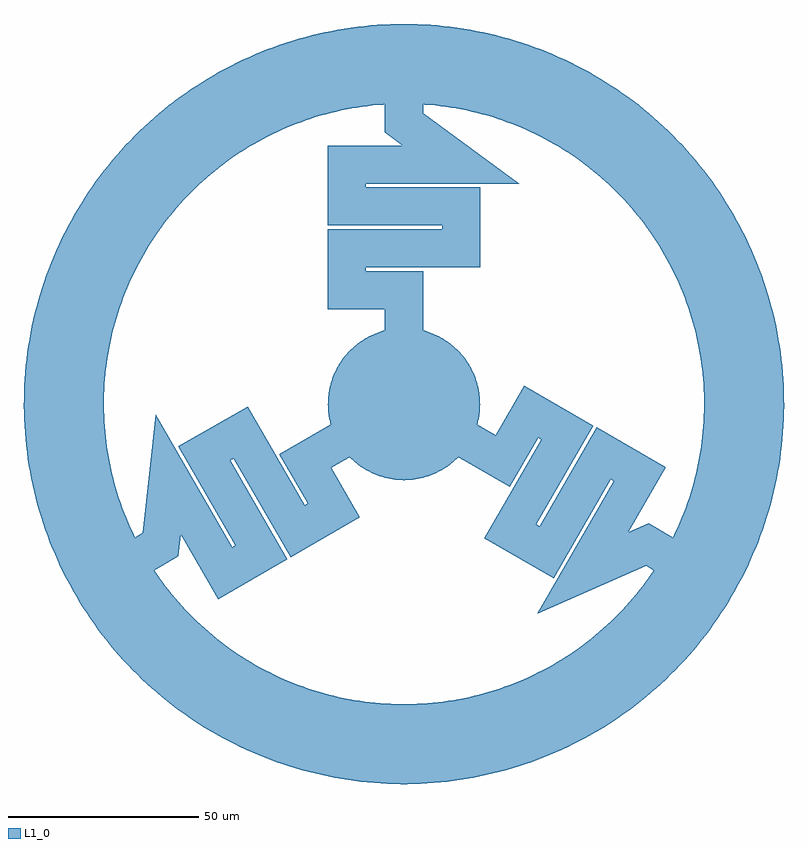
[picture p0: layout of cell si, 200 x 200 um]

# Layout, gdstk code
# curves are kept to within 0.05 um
import gdstk
lib = gdstk.Library(unit=1e-6, precision=1e-09)
def P(c, l, *ps):  # polygons
    for p in ps: c.add(gdstk.Polygon(p, *l))
L1_0 = (1, 0)

c_si = lib.new_cell('si')
P(c_si, L1_0, [(-0.175,-19.999),(-2.27,-19.871),(-4.341,-19.523),(-6.363,-18.961),(-7.996,-18.332),(-9.568,-17.563),(-11.356,-16.464),(-13.019,-15.183),(-14.296,-13.987),(-15.464,-12.684),(-16.708,-10.993),(-17.605,-9.491),(-18.503,-7.593),(-19.197,-5.612),(-19.614,-3.913),(-19.916,-1.835),(-19.998,0.263),(-19.861,2.357),(-19.579,4.084),(-19.043,6.114),(-18.297,8.076),(-17.35,9.949),(-16.414,11.428),(-15.352,12.818),(-13.924,14.357),(-12.616,15.519),(-10.92,16.756),(-9.103,17.808),(-7.512,18.536),(-5.528,19.221),(-3.827,19.631),(-1.748,19.923),(0.35,19.997),(2.096,19.89),(4.17,19.561),(6.197,19.016),(8.156,18.261),(9.721,17.479),(11.499,16.363),(12.886,15.296),(14.418,13.861),(15.574,12.548),(16.804,10.846),(17.848,9.025),(18.568,7.431),(19.147,5.78),(19.647,3.741),(19.899,2.009),(20,-0.088),(19.916,-1.835),(19.614,-3.913),(19.197,-5.612),(18.503,-7.593),(17.605,-9.491),(16.513,-11.284),(15.464,-12.684),(14.049,-14.235),(12.48,-15.629),(10.773,-16.851),(9.259,-17.728),(7.349,-18.601),(5.359,-19.269),(3.655,-19.663),(1.574,-19.938)],
  [(-0.875,-99.996),(-6.122,-99.812),(-11.352,-99.354),(-16.55,-98.621),(-19.992,-97.981),(-25.106,-96.797),(-30.152,-95.346),(-35.114,-93.632),(-38.369,-92.346),(-43.163,-90.205),(-47.838,-87.816),(-52.38,-85.184),(-56.779,-82.318),(-61.021,-79.224),(-65.094,-75.913),(-68.989,-72.392),(-71.48,-69.933),(-73.884,-67.389),(-77.318,-63.418),(-80.54,-59.273),(-83.54,-54.964),(-85.412,-52.007),(-88.024,-47.453),(-90.393,-42.768),(-92.513,-37.965),(-94.378,-33.057),(-95.983,-28.059),(-97.323,-22.983),(-98.068,-19.563),(-98.959,-14.389),(-99.578,-9.176),(-99.922,-3.937),(-99.991,1.313),(-99.785,6.559),(-99.494,10.047),(-99.082,13.522),(-98.235,18.704),(-97.118,23.834),(-95.734,28.898),(-94.664,32.23),(-93.478,35.523),(-91.485,40.38),(-89.239,45.126),(-86.748,49.747),(-84.018,54.231),(-81.056,58.566),(-77.87,62.739),(-75.627,65.426),(-73.291,68.033),(-69.62,71.785),(-65.756,75.34),(-61.712,78.687),(-61.306,79),(0,79),(-4.146,78.891),(-9.654,78.408),(-13.756,77.793),(-19.164,76.64),(-23.16,75.529),(-28.386,73.724),(-33.474,71.558),(-37.183,69.702),(-41.968,66.931),(-45.423,64.636),(-49.833,61.3),(-52.981,58.6),(-55.984,55.739),(-59.745,51.686),(-62.376,48.48),(-65.614,43.998),(-67.833,40.494),(-70.499,35.649),(-72.82,30.631),(-74.327,26.767),(-76.018,21.502),(-77.041,17.483),(-77.853,13.416),(-78.6,7.937),(-78.909,3.801),(-78.981,-1.728),(-78.782,-5.871),(-78.178,-11.367),(-77.474,-15.455),(-76.203,-20.836),(-74.559,-26.115),(-73.085,-29.992),(-71.411,-33.787),(-68.872,-38.699),(-65.997,-43.422),(-63.627,-46.826),(-61.082,-50.1),(-57.427,-54.25),(-53.492,-58.135),(-50.367,-60.862),(-47.104,-63.421),(-42.552,-66.561),(-37.792,-69.374),(-34.099,-71.262),(-29.03,-73.473),(-25.134,-74.895),(-19.834,-76.47),(-15.793,-77.405),(-10.34,-78.32),(-6.215,-78.755),(-2.074,-78.973),(3.456,-78.924),(7.593,-78.634),(13.075,-77.911),(17.146,-77.117),(22.498,-75.729),(26.441,-74.444),(31.584,-72.412),(36.572,-70.025),(40.196,-68.009),(44.855,-65.031),(48.206,-62.587),(51.425,-59.971),(55.494,-56.227),(58.368,-53.237),(60.195,-51.162),(61.949,-49.024),(64.436,-45.705),(66.746,-42.26),(68.872,-38.699),(70.184,-36.265),(71.991,-32.532),(73.599,-28.709),(74.559,-26.115),(75.826,-22.166),(76.885,-18.156),(77.474,-15.455),(78.178,-11.367),(78.667,-7.249),(78.939,-3.11),(78.993,1.037),(78.909,3.801),(78.6,7.937),(78.075,12.051),(77.335,16.132),(76.382,20.168),(75.63,22.829),(74.327,26.767),(72.82,30.631),(71.112,34.41),(69.864,36.878),(67.833,40.494),(65.614,43.998),(64.034,46.267),(62.376,48.48),(59.745,51.686),(55.984,55.739),(53.999,57.664),(50.898,60.419),(47.657,63.007),(45.423,64.636),(40.79,67.655),(38.397,69.041),(34.721,70.961),(29.672,73.216),(25.789,74.672),(23.16,75.529),(17.82,76.964),(13.756,77.793),(9.654,78.408),(5.526,78.806),(1.383,78.988),(-61.306,79),(-57.497,81.817),(-54.598,83.78),(-50.126,86.53),(-47.067,88.231),(-43.951,89.824),(-39.176,92.007),(-34.293,93.936),(-30.985,95.079),(-27.639,96.105),(-22.557,97.423),(-19.133,98.153),(-15.687,98.762),(-10.482,99.449),(-6.995,99.755),(-3.5,99.939),(1.75,99.985),(6.995,99.755),(10.482,99.449),(15.687,98.762),(20.848,97.803),(25.952,96.574),(30.985,95.079),(34.293,93.936),(39.176,92.007),(43.951,89.824),(48.604,87.394),(51.633,85.639),(56.056,82.811),(60.325,79.755),(64.428,76.479),(68.353,72.993),(72.089,69.305),(75.627,65.426),(78.956,61.367),(81.056,58.566),(84.018,54.231),(85.864,51.258),(88.436,46.681),(90.764,41.975),(92.842,37.154),(94.664,32.23),(95.734,28.898),(97.118,23.834),(98.235,18.704),(99.082,13.522),(99.655,8.304),(99.953,3.062),(99.999,-0.438),(99.838,-5.685),(99.578,-9.176),(98.959,-14.389),(98.068,-19.563),(97.323,-22.983),(95.983,-28.059),(94.378,-33.057),(92.513,-37.965),(90.393,-42.768),(88.024,-47.453),(85.412,-52.007),(83.54,-54.964),(80.54,-59.273),(77.318,-63.418),(73.884,-67.389),(70.245,-71.173),(66.413,-74.762),(62.398,-78.144),(59.625,-80.28),(55.329,-83.299),(50.882,-86.088),(47.838,-87.816),(43.163,-90.205),(38.369,-92.346),(33.47,-94.232),(28.478,-95.859),(23.408,-97.222),(18.274,-98.316),(13.089,-99.14),(7.868,-99.69),(2.625,-99.966)])
c_si.add(gdstk.FlexPath([(0,0),(0,30),(-15,30),(-15,41),(15,41),(15,52),(-15,52),(-15,63),(15,63),(15,63),(0,74),(0,79)], 10, ends="flush", simple_path=True, layer=1, datatype=0))  # L1_0
c_si.add(gdstk.FlexPath([(0,0),(-25.981,-15),(-18.481,-27.99),(-28.007,-33.49),(-43.007,-7.51),(-52.533,-13.01),(-37.533,-38.99),(-47.06,-44.49),(-62.06,-18.51),(-62.06,-18.51),(-64.086,-37),(-68.416,-39.5)], 10, ends="flush", simple_path=True, layer=1, datatype=0))  # L1_0
c_si.add(gdstk.FlexPath([(0,0),(25.981,-15),(33.481,-2.01),(43.007,-7.51),(28.007,-33.49),(37.533,-38.99),(52.533,-13.01),(62.06,-18.51),(47.06,-44.49),(47.06,-44.49),(64.086,-37),(68.416,-39.5)], 10, ends="flush", simple_path=True, layer=1, datatype=0))  # L1_0

lib.write_gds('si.gds')
